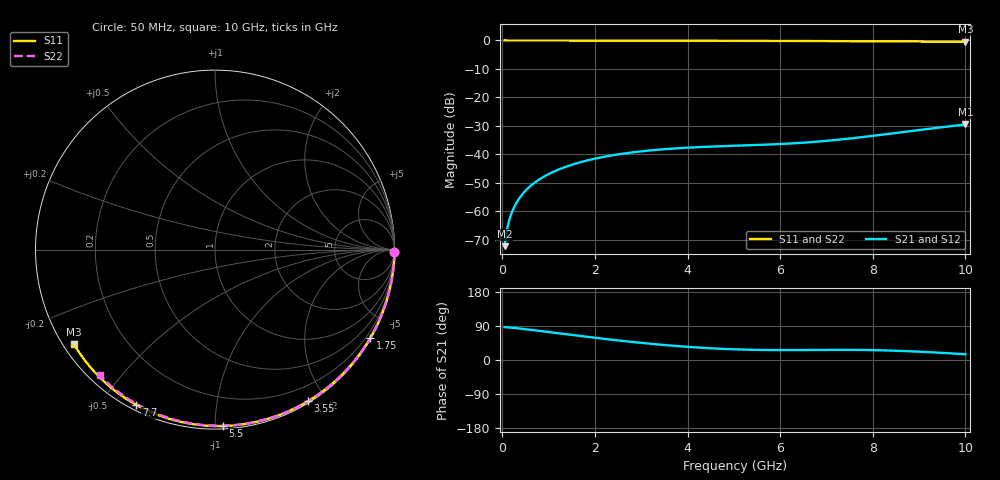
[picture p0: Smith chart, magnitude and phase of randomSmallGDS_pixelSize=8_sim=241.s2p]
! freq	dB(S11)	phase(S11)	dB(S12)	phase(S12)
!  dB(S21)	phase(S21)	dB(S22)	phase(S22)
!S-par simulation data
#  GHz  S  DB  R 50
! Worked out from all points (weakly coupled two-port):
!   200 points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, 50 MHz to 10 GHz, reference 50 ohm
!   highest |S21| = -29.50 dB at 10 GHz (marker M1); lowest = -72.3 dB at 50 MHz (marker M2)
!   lowest |S11| = -0.5 dB at 10 GHz (marker M3), VSWR 35.90, Z = 1.52 - j15.3 ohm
!   |S11| at or under -10 dB: nowhere
!   |S22| runs from -0.4 to 0.0 dB; largest |S21 - S12| = 0
!   S11 on the Smith chart (normalised r, x): 50 MHz: open; 1.75 GHz: 0.03, -3.77; 3.55 GHz: 0.02, -1.78; 5.5 GHz: 0.02, -1.05; 7.7 GHz: 0.02, -0.61; 10 GHz: 0.03, -0.31
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0.05  -0.00 -0.9  -72.33 86.7  -72.33 86.7  -0.00 -0.8
0.1  -0.00 -1.7  -66.57 86.1  -66.57 86.1  -0.00 -1.6
0.15  -0.00 -2.6  -63.15 85.7  -63.15 85.7  -0.00 -2.3
0.2  -0.00 -3.5  -60.70 85.3  -60.70 85.3  -0.00 -3.1
0.25  -0.00 -4.3  -58.79 84.7  -58.79 84.7  -0.00 -3.9
0.35  -0.00 -6.0  -55.90 83.4  -55.90 83.4  -0.00 -5.4
0.5  -0.01 -8.6  -52.84 81.3  -52.84 81.3  -0.01 -7.8
0.7  -0.01 -12.0  -49.97 78.2  -49.97 78.2  -0.01 -10.9
1  -0.02 -17.1  -46.98 73.6  -46.98 73.6  -0.02 -15.4
1.35  -0.03 -23.0  -44.54 68.2  -44.54 68.2  -0.03 -20.8
1.75  -0.04 -29.7  -42.53 62.2  -42.53 62.2  -0.03 -26.8
2.5  -0.05 -42.0  -40.06 51.6  -40.06 51.6  -0.05 -37.9
3.4  -0.08 -56.2  -38.36 40.6  -38.36 40.6  -0.07 -50.9
3.55  -0.08 -58.6  -38.17 39.0  -38.17 39.0  -0.07 -53.1
4.3  -0.10 -70.0  -37.46 32.3  -37.46 32.3  -0.09 -63.5
5.05  -0.12 -80.9  -37.01 28.0  -37.01 28.0  -0.11 -73.5
5.5  -0.14 -87.3  -36.76 26.7  -36.76 26.7  -0.13 -79.4
6.7  -0.20 -103.8  -35.70 26.5  -35.70 26.5  -0.18 -94.4
7.7  -0.27 -116.9  -34.12 26.6  -34.12 26.6  -0.24 -106.4
8.35  -0.32 -125.2  -32.84 25.0  -32.84 25.0  -0.29 -113.9
9.2  -0.40 -135.9  -31.09 20.8  -31.09 20.8  -0.36 -123.6
10  -0.48 -146.0  -29.50 15.2  -29.50 15.2  -0.44 -132.5
